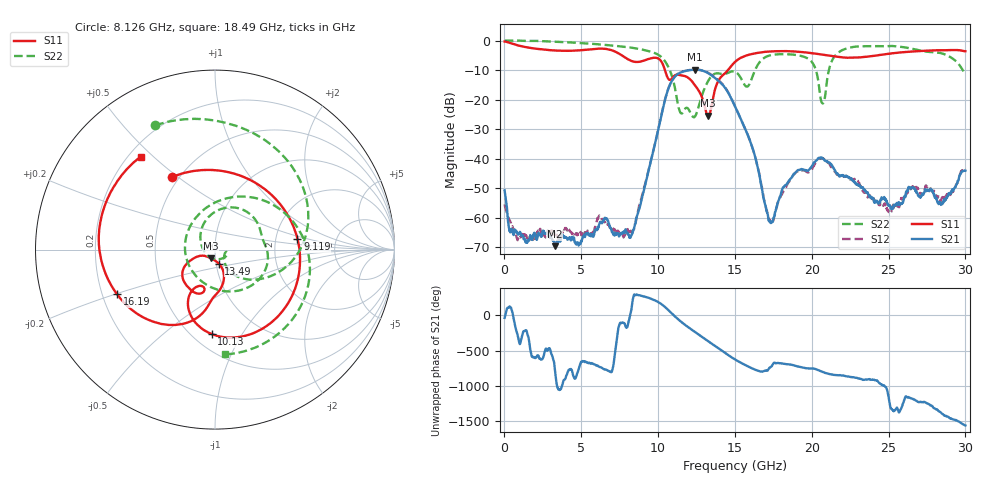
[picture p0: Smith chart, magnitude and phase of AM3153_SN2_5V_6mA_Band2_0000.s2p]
!Agilent Technologies,E8364B,MY43040894,A.07.50.67
!Agilent E8364B: A.07.50.67
!Date: Tuesday, May 12, 2020 09:48:57
!Correction: S11(Full 2 Port(1,2))
!S21(Full 2 Port(1,2))
!S12(Full 2 Port(1,2))
!S22(Full 2 Port(1,2))
!S2P File: Measurements: S11, S21, S12, S22:
# Hz S  dB  R 50
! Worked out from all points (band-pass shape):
!   1601 points, 10 MHz to 30 GHz, reference 50 ohm
!   highest |S21| = -9.83 dB at 12.42 GHz (marker M1); lowest = -69.6 dB at 3.271 GHz (marker M2)
!   |S21| within 3 dB of the highest: 11 GHz to 13.75 GHz (2.749 GHz wide, 22.2 % of centre)
!   lowest |S11| = -25.4 dB at 13.26 GHz (marker M3), VSWR 1.11, Z = 47.5 - j4.63 ohm
!   |S11| at or under -10 dB: 10.44 GHz to 14.55 GHz (4.101 GHz wide, 32.8 % of centre)
!   |S22| runs from -25.9 to 0.1 dB; largest |S21 - S12| = 0.0066
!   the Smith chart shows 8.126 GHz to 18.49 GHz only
!   S11 on the Smith chart (normalised r, x): 8.126 GHz: 0.46, +0.48; 9.119 GHz: 2.66, +0.41; 10.13 GHz: 0.62, -0.75; 13.49 GHz: 1.03, -0.16; 16.19 GHz: 0.26, -0.20; 18.49 GHz: 0.25, +0.46
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1e7  -0.29 -7.5  -50.70 -33.7  -55.42 -30.6  0.02 -2.0
1.040906e9  -1.83 -96.7  -64.99 -24.6  -66.65 -146.5  -0.03 -31.2
2.053069e9  -2.74 -165.3  -66.94 118.0  -65.78 -161.8  -0.09 -61.4
3.271412e9  -3.33 126.7  -69.59 -29.8  -65.76 -110.0  -0.36 -97.1
5.014581e9  -3.23 28.2  -68.11 63.2  -65.88 152.8  -0.85 -147.4
6.626544e9  -2.83 -87.5  -60.17 -53.4  -62.54 70.0  -1.48 165.5
8.126044e9  -6.56 120.7  -66.71 -49.6  -64.62 157.9  -2.29 115.7
9.119462e9  -6.68 7.4  -49.61 -91.2  -49.17 -89.0  -3.21 75.8
1.001916e10  -6.08 -80.7  -29.91 -170.0  -29.76 -169.8  -4.82 26.4
1.013162e10  -6.54 -92.2  -27.26 175.0  -27.09 174.8  -5.22 18.5
1.241836e10  -15.23 -153.9  -9.83 121.3  -9.78 120.9  -25.53 -143.1
1.326183e10  -25.39 -115.4  -11.02 -7.4  -10.89 -7.4  -13.62 90.8
1.348676e10  -21.89 -74.5  -11.79 -41.0  -11.60 -41.2  -11.98 69.1
1.5005e10  -7.22 -110.9  -22.25 92.9  -22.19 91.2  -10.52 -31.6
1.618586e10  -4.44 -155.5  -37.00 -41.2  -37.04 -42.8  -11.58 89.3
1.731048e10  -3.65 167.1  -61.29 -15.9  -61.34 118.0  -4.96 -27.0
1.849134e10  -3.59 128.6  -47.62 22.8  -47.95 20.8  -4.63 -84.6
2.000958e10  -4.25 74.1  -42.47 -34.9  -43.63 -33.3  -7.25 -151.8
2.072184e10  -4.78 45.0  -39.89 -87.6  -39.85 -85.9  -21.28 -121.7
2.195893e10  -5.65 -12.1  -45.75 -134.7  -45.99 -134.6  -3.29 -125.0
2.501416e10  -4.45 -152.6  -55.73 -105.2  -58.06 100.2  -1.84 135.6
3e10  -3.59 72.1  -44.03 -128.8  -43.38 -127.7  -11.25 -10.4
